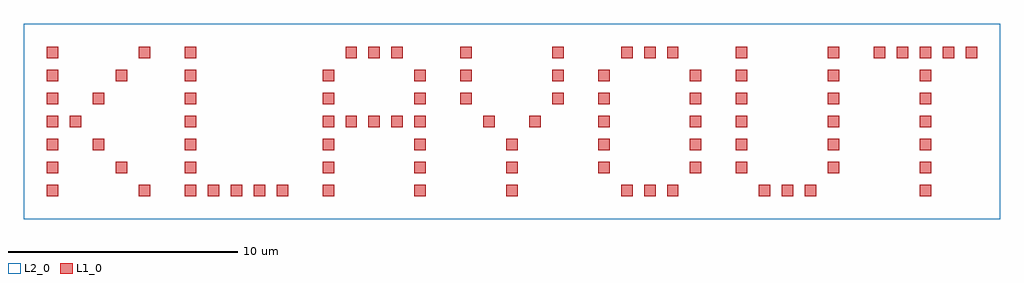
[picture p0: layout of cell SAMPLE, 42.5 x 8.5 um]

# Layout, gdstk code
import gdstk
lib = gdstk.Library(unit=1e-6, precision=1e-09)
def R(c, l, rs):  # rectangles x0, y0, x1, y1
    for r in rs: c.add(gdstk.rectangle(r[:2], r[2:], *l))
def A(c, l, x, y, w, h, nx, ny, dx, dy):  # array of equal rectangles
    R(c, l, [(x+i*dx, y+j*dy, x+i*dx+w, y+j*dy+h) for i in range(nx) for j in range(ny)])
L1_0 = (1, 0)
L2_0 = (2, 0)

sample = lib.new_cell('SAMPLE')
A(sample, L1_0, 7, 1, 0.5, 0.5, 5, 1, 1, 0)
A(sample, L1_0, 13, 1, 0.5, 0.5, 3, 1, 4, 0)
A(sample, L1_0, 26, 1, 0.5, 0.5, 3, 2, 1, 6)
A(sample, L1_0, 32, 1, 0.5, 0.5, 3, 1, 1, 0)
A(sample, L1_0, 1, 2, 0.5, 0.5, 3, 2, 3, 4)
A(sample, L1_0, 13, 2, 0.5, 0.5, 5, 2, 4, 1)
A(sample, L1_0, 31, 2, 0.5, 0.5, 3, 5, 4, 1)
A(sample, L1_0, 1, 3, 0.5, 0.5, 1, 3, 0, 1)
A(sample, L1_0, 7, 3, 0.5, 0.5, 1, 3, 0, 1)
A(sample, L1_0, 13, 4, 0.5, 0.5, 5, 1, 1, 0)
A(sample, L1_0, 25, 4, 0.5, 0.5, 1, 3, 0, 1)
A(sample, L1_0, 29, 4, 0.5, 0.5, 1, 3, 0, 1)
A(sample, L1_0, 19, 5, 0.5, 0.5, 1, 3, 0, 1)
A(sample, L1_0, 23, 5, 0.5, 0.5, 1, 3, 0, 1)
A(sample, L1_0, 14, 7, 0.5, 0.5, 3, 1, 1, 0)
A(sample, L1_0, 37, 7, 0.5, 0.5, 5, 1, 1, 0)
R(sample, L1_0, [(1,1,1.5,1.5), (5,1,5.5,1.5), (39,1,39.5,1.5), (3,3,3.5,3.5), (2,4,2.5,4.5), (20,4,20.5,4.5), (22,4,22.5,4.5), (3,5,3.5,5.5), (13,5,13.5,5.5), (17,5,17.5,5.5), (13,6,13.5,6.5), (17,6,17.5,6.5), (1,7,1.5,7.5), (5,7,5.5,7.5), (7,7,7.5,7.5), (31,7,31.5,7.5), (35,7,35.5,7.5)])
R(sample, L2_0, [(0,0,42.5,8.5)])

lib.write_gds('SAMPLE.gds')
